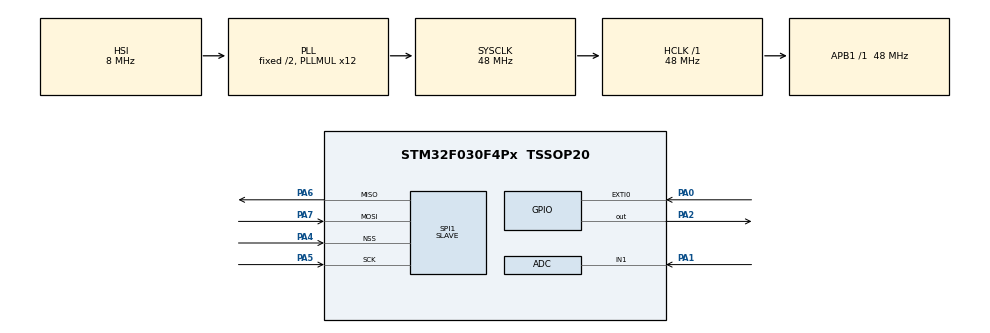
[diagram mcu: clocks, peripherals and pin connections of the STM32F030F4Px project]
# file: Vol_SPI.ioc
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ADC.DMAContinuousRequests=ENABLE
ADC.ExternalTrigConv=ADC_EXTERNALTRIGCONV_T1_TRGO
ADC.SamplingTime=ADC_SAMPLETIME_13CYCLES_5
Dma.ADC.0.Direction=DMA_PERIPH_TO_MEMORY
Dma.ADC.0.Instance=DMA1_Channel1
Dma.ADC.0.MemDataAlignment=DMA_MDATAALIGN_HALFWORD
Dma.ADC.0.MemInc=DMA_MINC_ENABLE
Dma.ADC.0.Mode=DMA_CIRCULAR
Dma.ADC.0.PeriphDataAlignment=DMA_PDATAALIGN_HALFWORD
Dma.ADC.0.PeriphInc=DMA_PINC_DISABLE
Dma.ADC.0.Priority=DMA_PRIORITY_LOW
Dma.Request0=ADC
Dma.Request1=SPI1_RX
Dma.Request2=SPI1_TX
Dma.SPI1_RX.1.Direction=DMA_PERIPH_TO_MEMORY
Dma.SPI1_RX.1.Instance=DMA1_Channel2
Dma.SPI1_RX.1.MemDataAlignment=DMA_MDATAALIGN_BYTE
Dma.SPI1_RX.1.MemInc=DMA_MINC_ENABLE
Dma.SPI1_RX.1.Mode=DMA_NORMAL
Dma.SPI1_RX.1.PeriphDataAlignment=DMA_PDATAALIGN_BYTE
Dma.SPI1_RX.1.PeriphInc=DMA_PINC_DISABLE
Dma.SPI1_RX.1.Priority=DMA_PRIORITY_LOW
Dma.SPI1_TX.2.Direction=DMA_MEMORY_TO_PERIPH
Dma.SPI1_TX.2.Instance=DMA1_Channel3
Dma.SPI1_TX.2.MemDataAlignment=DMA_MDATAALIGN_BYTE
Dma.SPI1_TX.2.MemInc=DMA_MINC_ENABLE
Dma.SPI1_TX.2.Mode=DMA_NORMAL
Dma.SPI1_TX.2.PeriphDataAlignment=DMA_PDATAALIGN_BYTE
Dma.SPI1_TX.2.PeriphInc=DMA_PINC_DISABLE
Dma.SPI1_TX.2.Priority=DMA_PRIORITY_LOW
Mcu.Family=STM32F0
Mcu.Name=STM32F030F4Px
Mcu.Package=TSSOP20
NVIC.DMA1_Channel1_IRQn=true\:0\:0\:false\:false\:true\:false\:true
NVIC.DMA1_Channel2_3_IRQn=true\:0\:0\:false\:false\:true\:false\:true
NVIC.EXTI0_1_IRQn=true\:0\:0\:false\:false\:true\:true\:true
NVIC.SPI1_IRQn=true\:0\:0\:false\:false\:true\:true\:true
PA0.GPIO_ModeDefaultEXTI=GPIO_MODE_IT_FALLING
PA0.Signal=GPXTI0
PA1.Mode=IN1
PA1.Signal=ADC_IN1
PA13.Mode=Serial_Wire
PA13.Signal=SYS_SWDIO
PA14.Mode=Serial_Wire
PA14.Signal=SYS_SWCLK
PA2.PinState=GPIO_PIN_SET
PA2.Signal=GPIO_Output
PA4.Mode=NSS_Signal_Hard_Input
PA4.Signal=SPI1_NSS
PA5.Mode=Full_Duplex_Slave
PA5.Signal=SPI1_SCK
PA6.Mode=Full_Duplex_Slave
PA6.Signal=SPI1_MISO
PA7.Mode=Full_Duplex_Slave
PA7.Signal=SPI1_MOSI
PF0-OSC_IN.Mode=HSE-External-Clock-Source
PF0-OSC_IN.Signal=RCC_OSC_IN
ProjectManager.HeapSize=0x200
ProjectManager.StackSize=0x400
ProjectManager.TargetToolchain=STM32CubeIDE
RCC.AHBFreq_Value=48000000
RCC.APB1Freq_Value=48000000
RCC.APB1TimFreq_Value=48000000
RCC.HCLKFreq_Value=48000000
RCC.PLLMUL=RCC_PLL_MUL12
RCC.SYSCLKFreq_VALUE=48000000
RCC.SYSCLKSource=RCC_SYSCLKSOURCE_PLLCLK
SPI1.DataSize=SPI_DATASIZE_16BIT
SPI1.Direction=SPI_DIRECTION_2LINES
SPI1.Mode=SPI_MODE_SLAVE
SPI1.VirtualNSS=VM_NSSHARD
SPI1.VirtualType=VM_SLAVE
TIM1.Period=399
TIM1.Prescaler=47
TIM1.TIM_MasterOutputTrigger=TIM_TRGO_UPDATE
TIM1.TIM_MasterSlaveMode=TIM_MASTERSLAVEMODE_ENABLE
VP_TIM1_VS_ClockSourceINT.Mode=Internal
board=custom

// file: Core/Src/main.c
/* USER CODE BEGIN Header */
/**
  ******************************************************************************
  * @file           : main.c
  * @brief          : Main program body
  ******************************************************************************
  * @attention
  *
  * <h2><center>&copy; Copyright (c) 2025 STMicroelectronics.
  * All rights reserved.</center></h2>
  *
  * This software component is licensed by ST under BSD 3-Clause license,
  * the "License"; You may not use this file except in compliance with the
  * License. You may obtain a copy of the License at:
  *                        opensource.org/licenses/BSD-3-Clause
  *
  ******************************************************************************
  */
/* USER CODE END Header */
#include "main.h"

/* USER CODE BEGIN Includes */
#include <stdio.h>
#include <string.h>
#include <stdbool.h>

/* USER CODE END Includes */

/* USER CODE BEGIN PTD */

#define FRAME_SAMPLES   50  // 50 mẫu tương ứng với tần số lấy mẫu 2.5kHz
#define SPI_WORDS 51       // 1 Header + 50 Samples

uint16_t adc_dma_buf[100];

/* SPI buffers (16-bit) */

uint16_t spi_rx_frame[51];
uint16_t spi_tx_frame[51];

uint16_t overflow_count = 0;
uint16_t half = 0;
/* USER CODE END PTD */

ADC_HandleTypeDef hadc;
DMA_HandleTypeDef hdma_adc;

SPI_HandleTypeDef hspi1;
DMA_HandleTypeDef hdma_spi1_rx;
DMA_HandleTypeDef hdma_spi1_tx;

TIM_HandleTypeDef htim1;

void SystemClock_Config(void);
static void MX_GPIO_Init(void);
static void MX_DMA_Init(void);
static void MX_ADC_Init(void);
static void MX_SPI1_Init(void);
static void MX_TIM1_Init(void);

/* USER CODE BEGIN 0 */

// ====== Init for Timer Trigger ADC ====== //
void HAL_GPIO_EXTI_Callback(uint16_t GPIO_Pin)
{
  /* Prevent unused argument(s) compilation warning */
  UNUSED(GPIO_Pin);
  if(GPIO_Pin == GPIO_PIN_0)
  {
  	  HAL_ADC_Start_DMA(&hadc, (uint32_t*)adc_dma_buf, 100);
  	  /*size = 50 , circular mode
  	  khi adc dma hoàn tất 0-49 g�?i halfcallback
  	  khi adc dma hoàn tất 50-99 g�?i cmpltcallback
  	  dùng double buffer lưu 50 mẫu đầu trong buffer A
  	  lưu 50 mẫu tiếp theo trong buffer B để tránh việc ghi đè */

  	  HAL_TIM_Base_Start(&htim1);
  }
}

// hàm chuẩn bị và gửi dữ liệu
void prepare_and_send (uint16_t *value)
{
	if (hspi1.State != HAL_SPI_STATE_READY)
	{
		// Nếu Busy, nghĩa là ESP32 chưa đ�?c xong gói cũ
		// Ta b�? qua gói này để bảo vệ nhịp độ lấy mẫu ADC
		overflow_count++;
		return;
	}
	spi_tx_frame[0] = 0xAAAA; // Header nhận diện gói 16-bit

	// copy 50 mẫu
	memcpy(&spi_tx_frame[1], value , FRAME_SAMPLES * 2);

	// Gửi 51 Word qua SPI DMA , spi_tx_frame[0] để làm header
	if(HAL_SPI_TransmitReceive_DMA(&hspi1, (uint8_t*)spi_tx_frame, (uint8_t*)spi_rx_frame, SPI_WORDS) == HAL_OK)
	{
		// Báo data ready cho ESP32
		HAL_GPIO_WritePin(GPIOA, GPIO_PIN_2, 0);
	}

}

// gửi đi 50 mẫu ở đầu
void HAL_ADC_ConvHalfCpltCallback(ADC_HandleTypeDef* hadc)
{
	half++;
	prepare_and_send(&adc_dma_buf[0]);
}

// ===== ADC callback for sample 50-99 (buffer B) ===== //
void HAL_ADC_ConvCpltCallback(ADC_HandleTypeDef* hadc)
{
	prepare_and_send(&adc_dma_buf[50]);

}

// ===== SPI callback after transmitting ===== //
void HAL_SPI_TxRxCpltCallback(SPI_HandleTypeDef *hspi)
{
	HAL_GPIO_WritePin(GPIOA, GPIO_PIN_2, 1); // kéo chân dataready lên 1 chờ có đủ 50 mẫu tiếp theo

}

/* USER CODE END 0 */

int main(void)
{

  /* MCU Configuration--------------------------------------------------------*/

  /* Reset of all peripherals, Initializes the Flash interface and the Systick. */
  HAL_Init();

  /* Configure the system clock */
  SystemClock_Config();

  /* Initialize all configured peripherals */
  MX_GPIO_Init();
  MX_DMA_Init();
  MX_ADC_Init();
  MX_SPI1_Init();
  MX_TIM1_Init();

  /* Infinite loop */
  while (1)
  {

  }
}

void SystemClock_Config(void)
{
  RCC_OscInitTypeDef RCC_OscInitStruct = {0};
  RCC_ClkInitTypeDef RCC_ClkInitStruct = {0};

  /** Initializes the RCC Oscillators according to the specified parameters
  * in the RCC_OscInitTypeDef structure.
  */
  RCC_OscInitStruct.OscillatorType = RCC_OSCILLATORTYPE_HSI|RCC_OSCILLATORTYPE_HSI14;
  RCC_OscInitStruct.HSIState = RCC_HSI_ON;
  RCC_OscInitStruct.HSI14State = RCC_HSI14_ON;
  RCC_OscInitStruct.HSICalibrationValue = RCC_HSICALIBRATION_DEFAULT;
  RCC_OscInitStruct.HSI14CalibrationValue = 16;
  RCC_OscInitStruct.PLL.PLLState = RCC_PLL_ON;
  RCC_OscInitStruct.PLL.PLLSource = RCC_PLLSOURCE_HSI;
  RCC_OscInitStruct.PLL.PLLMUL = RCC_PLL_MUL12;
  RCC_OscInitStruct.PLL.PREDIV = RCC_PREDIV_DIV1;
  if (HAL_RCC_OscConfig(&RCC_OscInitStruct) != HAL_OK)
  {
    Error_Handler();
  }
  /** Initializes the CPU, AHB and APB buses clocks
  */
  RCC_ClkInitStruct.ClockType = RCC_CLOCKTYPE_HCLK|RCC_CLOCKTYPE_SYSCLK
                              |RCC_CLOCKTYPE_PCLK1;
  RCC_ClkInitStruct.SYSCLKSource = RCC_SYSCLKSOURCE_PLLCLK;
  RCC_ClkInitStruct.AHBCLKDivider = RCC_SYSCLK_DIV1;
  RCC_ClkInitStruct.APB1CLKDivider = RCC_HCLK_DIV1;

  if (HAL_RCC_ClockConfig(&RCC_ClkInitStruct, FLASH_LATENCY_1) != HAL_OK)
  {
    Error_Handler();
  }
}

static void MX_ADC_Init(void)
{

  ADC_ChannelConfTypeDef sConfig = {0};

  /** Configure the global features of the ADC (Clock, Resolution, Data Alignment and number of conversion)
  */
  hadc.Instance = ADC1;
  hadc.Init.ClockPrescaler = ADC_CLOCK_ASYNC_DIV1;
  hadc.Init.Resolution = ADC_RESOLUTION_12B;
  hadc.Init.DataAlign = ADC_DATAALIGN_RIGHT;
  hadc.Init.ScanConvMode = ADC_SCAN_DIRECTION_FORWARD;
  hadc.Init.EOCSelection = ADC_EOC_SINGLE_CONV;
  hadc.Init.LowPowerAutoWait = DISABLE;
  hadc.Init.LowPowerAutoPowerOff = DISABLE;
  hadc.Init.ContinuousConvMode = DISABLE;
  hadc.Init.DiscontinuousConvMode = DISABLE;
  hadc.Init.ExternalTrigConv = ADC_EXTERNALTRIGCONV_T1_TRGO;
  hadc.Init.ExternalTrigConvEdge = ADC_EXTERNALTRIGCONVEDGE_RISING;
  hadc.Init.DMAContinuousRequests = ENABLE;
  hadc.Init.Overrun = ADC_OVR_DATA_PRESERVED;
  if (HAL_ADC_Init(&hadc) != HAL_OK)
  {
    Error_Handler();
  }
  /** Configure for the selected ADC regular channel to be converted.
  */
  sConfig.Channel = ADC_CHANNEL_1;
  sConfig.Rank = ADC_RANK_CHANNEL_NUMBER;
  sConfig.SamplingTime = ADC_SAMPLETIME_13CYCLES_5;
  if (HAL_ADC_ConfigChannel(&hadc, &sConfig) != HAL_OK)
  {
    Error_Handler();
  }

}

static void MX_SPI1_Init(void)
{

  /* SPI1 parameter configuration*/
  hspi1.Instance = SPI1;
  hspi1.Init.Mode = SPI_MODE_SLAVE;
  hspi1.Init.Direction = SPI_DIRECTION_2LINES;
  hspi1.Init.DataSize = SPI_DATASIZE_16BIT;
  hspi1.Init.CLKPolarity = SPI_POLARITY_LOW;
  hspi1.Init.CLKPhase = SPI_PHASE_1EDGE;
  hspi1.Init.NSS = SPI_NSS_HARD_INPUT;
  hspi1.Init.FirstBit = SPI_FIRSTBIT_MSB;
  hspi1.Init.TIMode = SPI_TIMODE_DISABLE;
  hspi1.Init.CRCCalculation = SPI_CRCCALCULATION_DISABLE;
  hspi1.Init.CRCPolynomial = 7;
  hspi1.Init.CRCLength = SPI_CRC_LENGTH_DATASIZE;
  hspi1.Init.NSSPMode = SPI_NSS_PULSE_DISABLE;
  if (HAL_SPI_Init(&hspi1) != HAL_OK)
  {
    Error_Handler();
  }

}

static void MX_TIM1_Init(void)
{

  TIM_ClockConfigTypeDef sClockSourceConfig = {0};
  TIM_MasterConfigTypeDef sMasterConfig = {0};

  htim1.Instance = TIM1;
  htim1.Init.Prescaler = 47;
  htim1.Init.CounterMode = TIM_COUNTERMODE_UP;
  htim1.Init.Period = 399;
  htim1.Init.ClockDivision = TIM_CLOCKDIVISION_DIV1;
  htim1.Init.RepetitionCounter = 0;
  htim1.Init.AutoReloadPreload = TIM_AUTORELOAD_PRELOAD_DISABLE;
  if (HAL_TIM_Base_Init(&htim1) != HAL_OK)
  {
    Error_Handler();
  }
  sClockSourceConfig.ClockSource = TIM_CLOCKSOURCE_INTERNAL;
  if (HAL_TIM_ConfigClockSource(&htim1, &sClockSourceConfig) != HAL_OK)
  {
    Error_Handler();
  }
  sMasterConfig.MasterOutputTrigger = TIM_TRGO_UPDATE;
  sMasterConfig.MasterSlaveMode = TIM_MASTERSLAVEMODE_ENABLE;
  if (HAL_TIMEx_MasterConfigSynchronization(&htim1, &sMasterConfig) != HAL_OK)
  {
    Error_Handler();
  }

}

static void MX_DMA_Init(void)
{

  /* DMA controller clock enable */
  __HAL_RCC_DMA1_CLK_ENABLE();

  /* DMA interrupt init */
  /* DMA1_Channel1_IRQn interrupt configuration */
  HAL_NVIC_SetPriority(DMA1_Channel1_IRQn, 0, 0);
  HAL_NVIC_EnableIRQ(DMA1_Channel1_IRQn);
  /* DMA1_Channel2_3_IRQn interrupt configuration */
  HAL_NVIC_SetPriority(DMA1_Channel2_3_IRQn, 0, 0);
  HAL_NVIC_EnableIRQ(DMA1_Channel2_3_IRQn);

}

static void MX_GPIO_Init(void)
{
  GPIO_InitTypeDef GPIO_InitStruct = {0};

  /* GPIO Ports Clock Enable */
  __HAL_RCC_GPIOF_CLK_ENABLE();
  __HAL_RCC_GPIOA_CLK_ENABLE();

  /*Configure GPIO pin Output Level */
  HAL_GPIO_WritePin(GPIOA, GPIO_PIN_2, GPIO_PIN_SET);

  /*Configure GPIO pin : PA0 */
  GPIO_InitStruct.Pin = GPIO_PIN_0;
  GPIO_InitStruct.Mode = GPIO_MODE_IT_FALLING;
  GPIO_InitStruct.Pull = GPIO_NOPULL;
  HAL_GPIO_Init(GPIOA, &GPIO_InitStruct);

  /*Configure GPIO pin : PA2 */
  GPIO_InitStruct.Pin = GPIO_PIN_2;
  GPIO_InitStruct.Mode = GPIO_MODE_OUTPUT_PP;
  GPIO_InitStruct.Pull = GPIO_NOPULL;
  GPIO_InitStruct.Speed = GPIO_SPEED_FREQ_LOW;
  HAL_GPIO_Init(GPIOA, &GPIO_InitStruct);

  /* EXTI interrupt init*/
  HAL_NVIC_SetPriority(EXTI0_1_IRQn, 0, 0);
  HAL_NVIC_EnableIRQ(EXTI0_1_IRQn);

}

void Error_Handler(void)
{
  __disable_irq();
  while (1)
  {
  }
}

/************************ (C) COPYRIGHT STMicroelectronics *****END OF FILE****/
